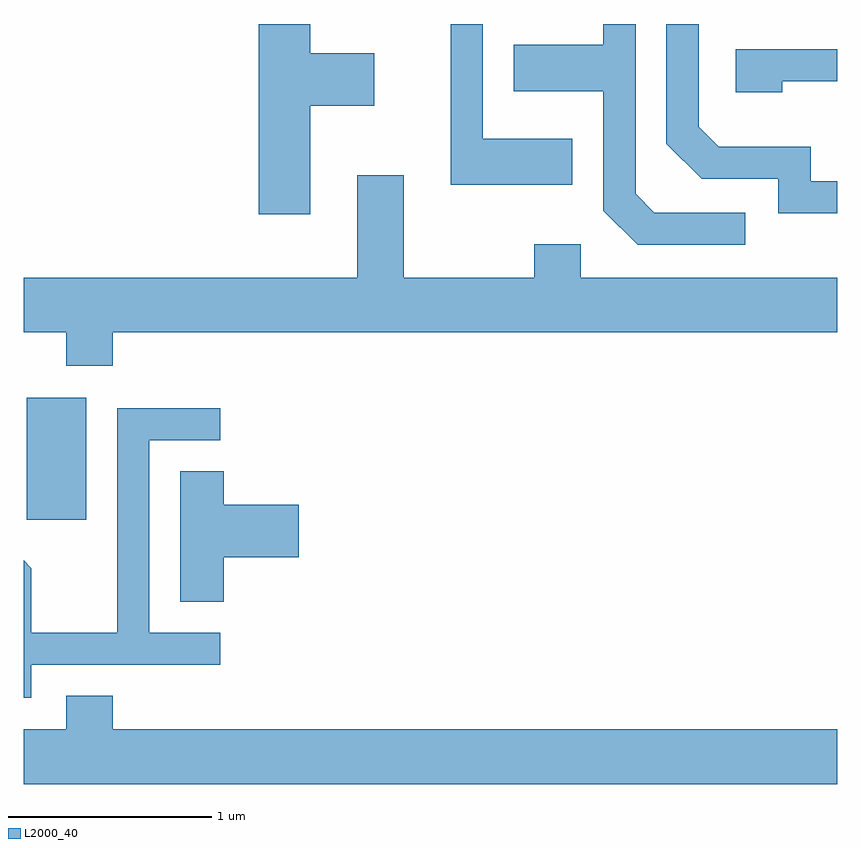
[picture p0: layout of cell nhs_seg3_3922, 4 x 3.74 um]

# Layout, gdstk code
import gdstk
lib = gdstk.Library(unit=1e-6, precision=1e-09)
def R(c, l, rs):  # rectangles x0, y0, x1, y1
    for r in rs: c.add(gdstk.rectangle(r[:2], r[2:], *l))
def P(c, l, *ps):  # polygons
    for p in ps: c.add(gdstk.Polygon(p, *l))
L2000_40 = (2000, 40)

nhs_seg3_3922 = lib.new_cell('nhs_seg3_3922')
R(nhs_seg3_3922, L2000_40, [(299.626,1209.456,299.919,1210.054)])
P(nhs_seg3_3922, L2000_40, [(303.611,1211.119),(303.479,1211.119),(303.479,1211.289),(303.027,1211.289),(302.929,1211.387),(302.929,1211.892),(302.771,1211.892),(302.771,1211.304),(302.944,1211.131),(303.321,1211.131),(303.321,1210.961),(303.611,1210.961)],
  [(303.158,1210.964),(302.712,1210.964),(302.619,1211.057),(302.619,1211.892),(302.461,1211.892),(302.461,1211.789),(302.021,1211.789),(302.021,1211.561),(302.461,1211.561),(302.461,1210.974),(302.629,1210.806),(303.158,1210.806)],
  [(301.019,1211.491),(301.334,1211.491),(301.334,1211.749),(301.019,1211.749),(301.019,1211.892),(300.766,1211.892),(300.766,1210.956),(301.019,1210.956)],
  [(302.309,1211.329),(301.869,1211.329),(301.869,1211.892),(301.711,1211.892),(301.711,1211.101),(302.309,1211.101)],
  [(303.339,1211.611),(303.611,1211.611),(303.611,1211.769),(303.111,1211.769),(303.111,1211.556),(303.339,1211.556)],
  [(300.049,1210.376),(303.611,1210.376),(303.611,1210.644),(302.349,1210.644),(302.349,1210.809),(302.121,1210.809),(302.121,1210.644),(301.479,1210.644),(301.479,1211.149),(301.251,1211.149),(301.251,1210.644),(299.611,1210.644),(299.611,1210.376),(299.821,1210.376),(299.821,1210.211),(300.049,1210.211)],
  [(299.649,1208.741),(300.578,1208.741),(300.578,1208.899),(300.229,1208.899),(300.229,1209.846),(300.578,1209.846),(300.578,1210.004),(300.071,1210.004),(300.071,1208.899),(299.649,1208.899),(299.649,1209.217),(299.611,1209.255),(299.611,1208.581),(299.649,1208.581)],
  [(300.594,1209.271),(300.964,1209.271),(300.964,1209.529),(300.594,1209.529),(300.594,1209.694),(300.381,1209.694),(300.381,1209.051),(300.594,1209.051)],
  [(303.611,1208.424),(300.049,1208.424),(300.049,1208.589),(299.821,1208.589),(299.821,1208.424),(299.611,1208.424),(299.611,1208.156),(303.611,1208.156)])

lib.write_gds('nhs_seg3_3922.gds')
